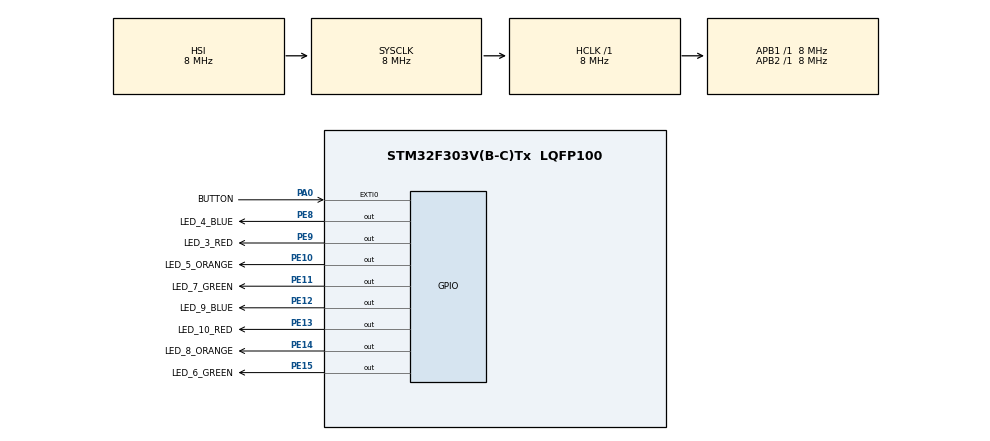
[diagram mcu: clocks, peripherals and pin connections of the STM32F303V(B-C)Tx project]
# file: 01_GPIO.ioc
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Mcu.Family=STM32F3
Mcu.Name=STM32F303V(B-C)Tx
Mcu.Package=LQFP100
NVIC.EXTI0_IRQn=true\:0\:0\:false\:false\:true\:true
NVIC.PriorityGroup=NVIC_PRIORITYGROUP_4
PA0.GPIO_Label=BUTTON
PA0.GPIO_ModeDefaultEXTI=GPIO_MODE_IT_RISING
PA0.Signal=GPXTI0
PE10.GPIO_Label=LED_5_ORANGE
PE10.Signal=GPIO_Output
PE11.GPIO_Label=LED_7_GREEN
PE11.Signal=GPIO_Output
PE12.GPIO_Label=LED_9_BLUE
PE12.Signal=GPIO_Output
PE13.GPIO_Label=LED_10_RED
PE13.Signal=GPIO_Output
PE14.GPIO_Label=LED_8_ORANGE
PE14.Signal=GPIO_Output
PE15.GPIO_Label=LED_6_GREEN
PE15.Signal=GPIO_Output
PE8.GPIO_Label=LED_4_BLUE
PE8.Signal=GPIO_Output
PE9.GPIO_Label=LED_3_RED
PE9.Signal=GPIO_Output
ProjectManager.HeapSize=0x200
ProjectManager.StackSize=0x400
ProjectManager.TargetToolchain=SW4STM32
RCC.AHBFreq_Value=8000000
RCC.APB1Freq_Value=8000000
RCC.APB2Freq_Value=8000000
RCC.CortexFreq_Value=8000000
RCC.HSE_VALUE=8000000
RCC.HSI_VALUE=8000000
RCC.LSE_VALUE=32768
RCC.SYSCLKFreq_VALUE=8000000
board=01_GPIO

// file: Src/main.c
/**
  ******************************************************************************
  * @file           : main.c
  * @brief          : Main program body
  ******************************************************************************
  ** This notice applies to any and all portions of this file
  * that are not between comment pairs USER CODE BEGIN and
  * USER CODE END. Other portions of this file, whether
  * inserted by the user or by software development tools
  * are owned by their respective copyright owners.
  *
  * COPYRIGHT(c) 2018 STMicroelectronics
  *
  * Redistribution and use in source and binary forms, with or without modification,
  * are permitted provided that the following conditions are met:
  *   1. Redistributions of source code must retain the above copyright notice,
  *      this list of conditions and the following disclaimer.
  *   2. Redistributions in binary form must reproduce the above copyright notice,
  *      this list of conditions and the following disclaimer in the documentation
  *      and/or other materials provided with the distribution.
  *   3. Neither the name of STMicroelectronics nor the names of its contributors
  *      may be used to endorse or promote products derived from this software
  *      without specific prior written permission.
  *
  * THIS SOFTWARE IS PROVIDED BY THE COPYRIGHT HOLDERS AND CONTRIBUTORS "AS IS"
  * AND ANY EXPRESS OR IMPLIED WARRANTIES, INCLUDING, BUT NOT LIMITED TO, THE
  * IMPLIED WARRANTIES OF MERCHANTABILITY AND FITNESS FOR A PARTICULAR PURPOSE ARE
  * DISCLAIMED. IN NO EVENT SHALL THE COPYRIGHT HOLDER OR CONTRIBUTORS BE LIABLE
  * FOR ANY DIRECT, INDIRECT, INCIDENTAL, SPECIAL, EXEMPLARY, OR CONSEQUENTIAL
  * DAMAGES (INCLUDING, BUT NOT LIMITED TO, PROCUREMENT OF SUBSTITUTE GOODS OR
  * SERVICES; LOSS OF USE, DATA, OR PROFITS; OR BUSINESS INTERRUPTION) HOWEVER
  * CAUSED AND ON ANY THEORY OF LIABILITY, WHETHER IN CONTRACT, STRICT LIABILITY,
  * OR TORT (INCLUDING NEGLIGENCE OR OTHERWISE) ARISING IN ANY WAY OUT OF THE USE
  * OF THIS SOFTWARE, EVEN IF ADVISED OF THE POSSIBILITY OF SUCH DAMAGE.
  *
  ******************************************************************************
  */
#include "main.h"
#include "stm32f3xx_hal.h"

/* USER CODE BEGIN PV */
#define LEDn 8

typedef enum
{
  LED3 = 0,
  LED4 = 1,
  LED5 = 2,
  LED6 = 3,
  LED7 = 4,
  LED8 = 5,
  LED9 = 6,
  LED10 = 7
} Led_TypeDef;

uint16_t GPIO_PIN[LEDn] = {LED_3_RED_Pin, LED_4_BLUE_Pin, LED_5_ORANGE_Pin, LED_6_GREEN_Pin,
		LED_7_GREEN_Pin, LED_8_ORANGE_Pin, LED_9_BLUE_Pin, LED_10_RED_Pin};

GPIO_TypeDef* GPIO_PORT[LEDn] = {LED_3_RED_GPIO_Port, LED_4_BLUE_GPIO_Port, LED_5_ORANGE_GPIO_Port,
                                 LED_6_GREEN_GPIO_Port, LED_7_GREEN_GPIO_Port, LED_8_ORANGE_GPIO_Port,
                                 LED_9_BLUE_GPIO_Port, LED_10_RED_GPIO_Port };
uint8_t LED_SEQ[LEDn] = {LED3, LED5, LED7, LED9, LED10, LED8, LED6, LED4};
/* Private variables ---------------------------------------------------------*/

/* USER CODE END PV */

void SystemClock_Config(void);
static void MX_GPIO_Init(void);

/* USER CODE BEGIN PFP */
void STM_EVAL_LEDOn(Led_TypeDef Led);
void STM_EVAL_LEDOff(Led_TypeDef Led);
void STM_EVAL_LEDToggle(Led_TypeDef Led);
/* Private function prototypes -----------------------------------------------*/
void HAL_GPIO_EXTI_Callback(uint16_t GPIO_Pin){
	static uint8_t indeks = 0;
	static uint8_t zapal = 1;

//	if(HAL_GPIO_ReadPin(BUTTON_GPIO_Port, BUTTON_Pin) == GPIO_PIN_SET)
//	{
//	  HAL_GPIO_WritePin(LED_6_GREEN_GPIO_Port, LED_6_GREEN_Pin, GPIO_PIN_SET);
//	}
//	else
//	{
//	  HAL_GPIO_WritePin(LED_6_GREEN_GPIO_Port, LED_6_GREEN_Pin, GPIO_PIN_RESET);;
//	}

	//HAL_GPIO_WritePin(LED_6_GREEN_GPIO_Port, LED_6_GREEN_Pin, HAL_GPIO_ReadPin(BUTTON_USER_GPIO_Port, BUTTON_USER_Pin));

	if(GPIO_Pin == BUTTON_Pin){
		if(zapal) HAL_GPIO_WritePin(GPIO_PORT[LED_SEQ[indeks]], GPIO_PIN[LED_SEQ[indeks]], GPIO_PIN_SET);
		else HAL_GPIO_WritePin(GPIO_PORT[LED_SEQ[indeks]], GPIO_PIN[LED_SEQ[indeks]], GPIO_PIN_RESET);

		if(++indeks >= LEDn)
		{
			indeks = 0;
			if(zapal) zapal = 0;
			else zapal = 1;
		}
	}
}
/* USER CODE END PFP */

int main(void)
{

  /* MCU Configuration----------------------------------------------------------*/

  /* Reset of all peripherals, Initializes the Flash interface and the Systick. */
  HAL_Init();

  /* Configure the system clock */
  SystemClock_Config();

  /* Initialize all configured peripherals */
  MX_GPIO_Init();
  /* USER CODE BEGIN 2 */
  //Uzupe³nianie komend CTRL+SPACJA
  //HAL_GPIO_WritePin(GPIOE, GPIO_PIN_15, GPIO_PIN_SET);
  /* USER CODE END 2 */

  /* Infinite loop */
  /* USER CODE BEGIN WHILE */
  while (1)
  {
//	Project > Clean
//	Project > C/C++ Index > Rebuild
//	Project > C/C++ Index > Freshen All Files

//	  if(HAL_GPIO_ReadPin(BUTTON_USER_GPIO_Port, BUTTON_USER_Pin) == GPIO_PIN_SET)
//	  {
//		  HAL_GPIO_WritePin(LED_6_GREEN_GPIO_Port, LED_6_GREEN_Pin, GPIO_PIN_SET);
//	  }
//	  else
//	  {
//		  HAL_GPIO_WritePin(LED_6_GREEN_GPIO_Port, LED_6_GREEN_Pin, GPIO_PIN_RESET);;
//	  }

  /* USER CODE END WHILE */

  }

}

void SystemClock_Config(void)
{

  RCC_OscInitTypeDef RCC_OscInitStruct;
  RCC_ClkInitTypeDef RCC_ClkInitStruct;

    /**Initializes the CPU, AHB and APB busses clocks
    */
  RCC_OscInitStruct.OscillatorType = RCC_OSCILLATORTYPE_HSI;
  RCC_OscInitStruct.HSIState = RCC_HSI_ON;
  RCC_OscInitStruct.HSICalibrationValue = 16;
  RCC_OscInitStruct.PLL.PLLState = RCC_PLL_NONE;
  if (HAL_RCC_OscConfig(&RCC_OscInitStruct) != HAL_OK)
  {
    _Error_Handler(__FILE__, __LINE__);
  }

    /**Initializes the CPU, AHB and APB busses clocks
    */
  RCC_ClkInitStruct.ClockType = RCC_CLOCKTYPE_HCLK|RCC_CLOCKTYPE_SYSCLK
                              |RCC_CLOCKTYPE_PCLK1|RCC_CLOCKTYPE_PCLK2;
  RCC_ClkInitStruct.SYSCLKSource = RCC_SYSCLKSOURCE_HSI;
  RCC_ClkInitStruct.AHBCLKDivider = RCC_SYSCLK_DIV1;
  RCC_ClkInitStruct.APB1CLKDivider = RCC_HCLK_DIV1;
  RCC_ClkInitStruct.APB2CLKDivider = RCC_HCLK_DIV1;

  if (HAL_RCC_ClockConfig(&RCC_ClkInitStruct, FLASH_LATENCY_0) != HAL_OK)
  {
    _Error_Handler(__FILE__, __LINE__);
  }

    /**Configure the Systick interrupt time
    */
  HAL_SYSTICK_Config(HAL_RCC_GetHCLKFreq()/1000);

    /**Configure the Systick
    */
  HAL_SYSTICK_CLKSourceConfig(SYSTICK_CLKSOURCE_HCLK);

  /* SysTick_IRQn interrupt configuration */
  HAL_NVIC_SetPriority(SysTick_IRQn, 0, 0);
}

/** Configure pins as
        * Analog
        * Input
        * Output
        * EVENT_OUT
        * EXTI
*/
static void MX_GPIO_Init(void)
{

  GPIO_InitTypeDef GPIO_InitStruct;

  /* GPIO Ports Clock Enable */
  __HAL_RCC_GPIOA_CLK_ENABLE();
  __HAL_RCC_GPIOE_CLK_ENABLE();

  /*Configure GPIO pin Output Level */
  HAL_GPIO_WritePin(GPIOE, LED_4_BLUE_Pin|LED_3_RED_Pin|LED_5_ORANGE_Pin|LED_7_GREEN_Pin
                          |LED_9_BLUE_Pin|LED_10_RED_Pin|LED_8_ORANGE_Pin|LED_6_GREEN_Pin, GPIO_PIN_RESET);

  /*Configure GPIO pin : BUTTON_Pin */
  GPIO_InitStruct.Pin = BUTTON_Pin;
  GPIO_InitStruct.Mode = GPIO_MODE_IT_RISING;
  GPIO_InitStruct.Pull = GPIO_NOPULL;
  HAL_GPIO_Init(BUTTON_GPIO_Port, &GPIO_InitStruct);

  /*Configure GPIO pins : LED_4_BLUE_Pin LED_3_RED_Pin LED_5_ORANGE_Pin LED_7_GREEN_Pin
                           LED_9_BLUE_Pin LED_10_RED_Pin LED_8_ORANGE_Pin LED_6_GREEN_Pin */
  GPIO_InitStruct.Pin = LED_4_BLUE_Pin|LED_3_RED_Pin|LED_5_ORANGE_Pin|LED_7_GREEN_Pin
                          |LED_9_BLUE_Pin|LED_10_RED_Pin|LED_8_ORANGE_Pin|LED_6_GREEN_Pin;
  GPIO_InitStruct.Mode = GPIO_MODE_OUTPUT_PP;
  GPIO_InitStruct.Pull = GPIO_NOPULL;
  GPIO_InitStruct.Speed = GPIO_SPEED_FREQ_LOW;
  HAL_GPIO_Init(GPIOE, &GPIO_InitStruct);

  /* EXTI interrupt init*/
  HAL_NVIC_SetPriority(EXTI0_IRQn, 0, 0);
  HAL_NVIC_EnableIRQ(EXTI0_IRQn);

}

/* USER CODE BEGIN 4 */
void STM_EVAL_LEDOn(Led_TypeDef Led)
{
  GPIO_PORT[Led]->BSRR = GPIO_PIN[Led];
}

void STM_EVAL_LEDOff(Led_TypeDef Led)
{
  GPIO_PORT[Led]->BRR = GPIO_PIN[Led];
}

void STM_EVAL_LEDToggle(Led_TypeDef Led)
{
  GPIO_PORT[Led]->ODR ^= GPIO_PIN[Led];
}
/* USER CODE END 4 */

void _Error_Handler(char *file, int line)
{
  while(1)
  {
  }
}

/************************ (C) COPYRIGHT STMicroelectronics *****END OF FILE****/
